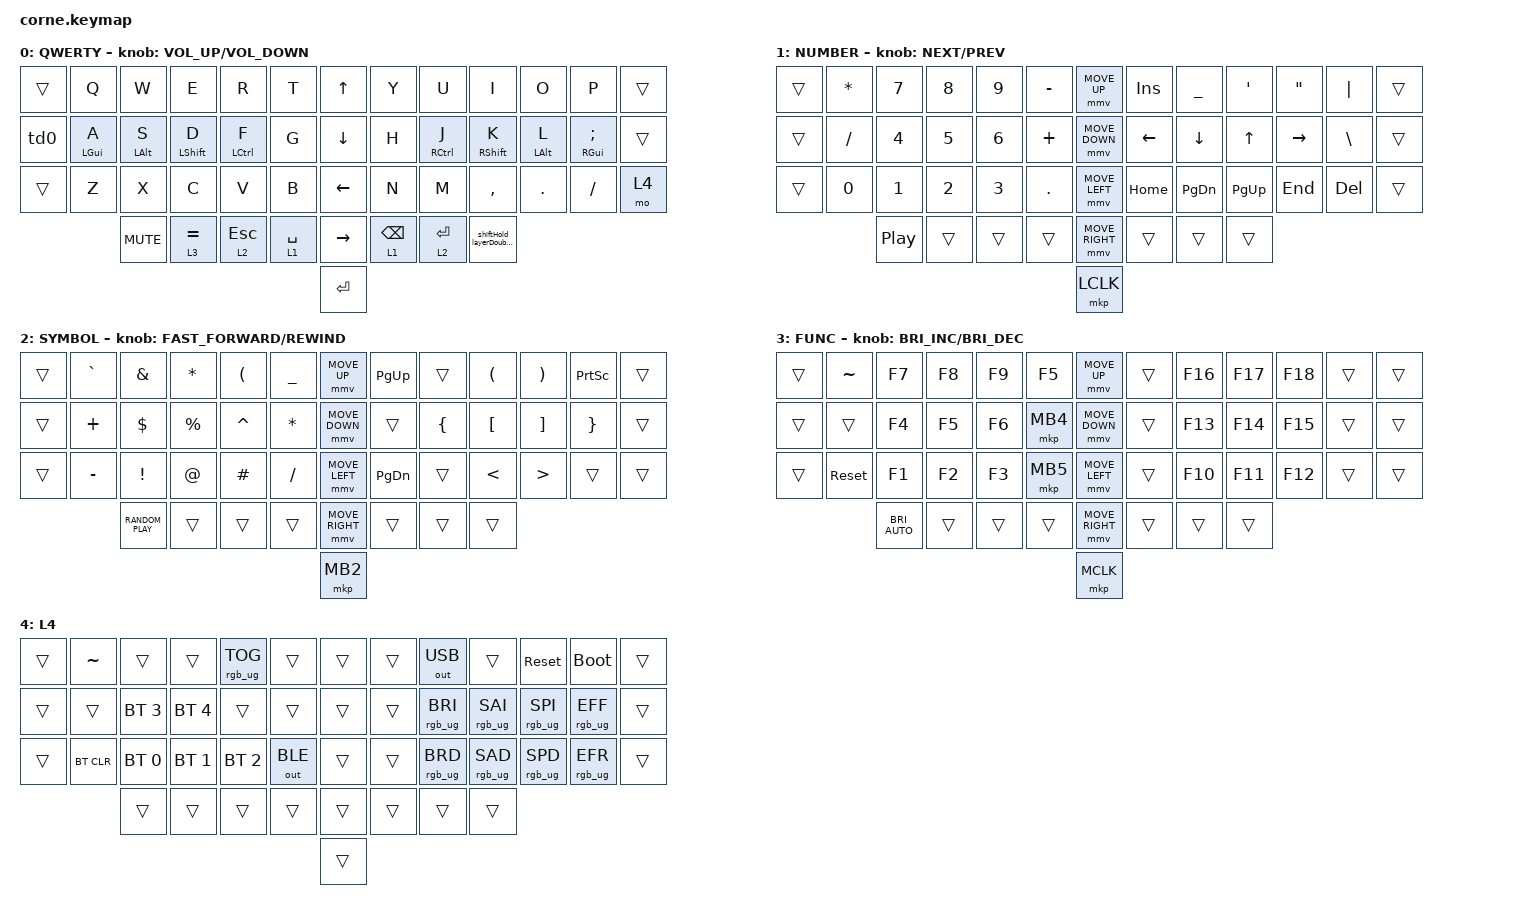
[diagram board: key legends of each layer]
#include <behaviors/mouse_keys.dtsi>
#include <behaviors.dtsi>
#include <dt-bindings/zmk/bt.h>
#include <dt-bindings/zmk/keys.h>
#include <dt-bindings/zmk/mouse.h>
#include <dt-bindings/zmk/outputs.h>
#include <dt-bindings/zmk/rgb.h>

#define ZMK_MOUSE_DEFAULT_MOVE_VAL 1200  // 600
#define ZMK_MOUSE_DEFAULT_SCRL_VAL 20    // 10
#define U_MS_U &mmv MOVE_UP
#define U_MS_D &mmv MOVE_DOWN
#define U_MS_L &mmv MOVE_LEFT
#define U_MS_R &mmv MOVE_RIGHT

&lt {
    quick-tap-ms = <125>;
    tapping-term-ms = <150>;
};

/ {
    behaviors {
        td0: td0 {
            compatible = "zmk,behavior-tap-dance";
            label = "TD0";
            #binding-cells = <0>;
            bindings = <&kp LEFT_SHIFT>, <&kp CAPS>;
        };

        hmr: homerow_right {
            compatible = "zmk,behavior-hold-tap";
            label = "HMR";
            bindings = <&kp>, <&kp>;

            #binding-cells = <2>;
            tapping-term-ms = <150>;
            quick-tap-ms = <125>;
            require-prior-idle-ms = <80>;
            flavor = "tap-preferred";
            hold-trigger-on-release;
            hold-trigger-key-positions = <40 41 42 0 1 2 3 4 5 13 14 15 16 17 18 26 27 28 29 30 31>;
        };

        hml: homerow_left {
            compatible = "zmk,behavior-hold-tap";
            label = "HML";
            bindings = <&kp>, <&kp>;

            #binding-cells = <2>;
            tapping-term-ms = <150>;
            quick-tap-ms = <125>;
            require-prior-idle-ms = <180>;
            flavor = "tap-preferred";
            hold-trigger-on-release;
            hold-trigger-key-positions = <7 8 9 10 11 12 20 21 22 23 24 25 33 34 35 36 37 38 45 46 44>;
        };

        shiftHold_layerDoubletap: shiftHold_layerDoubletap {
            compatible = "zmk,behavior-tap-dance";
            label = "SHIFTHOLD_LAYERDOUBLETAP";
            #binding-cells = <0>;
            bindings = <&kp LEFT_SHIFT>, <&mo 4>;

            tapping-term-ms = <150>;
        };

        mmv {
            acceleration-exponent = <1>;      // 1
            time-to-max-speed-ms = <900>;    // 40
            delay-ms = <0>;                   // 0
        };

        msc {
            acceleration-exponent = <1>;      // 0
            time-to-max-speed-ms = <400>;      // 500
            delay-ms = <0>;                   // 10
        };
    };

    rgb_encoder: rgb_encoder {
        compatible = "zmk,behavior-sensor-rotate";
        label = "RGB_ENCODER";
        #sensor-binding-cells = <0>;
        bindings = <&rgb_ug RGB_BRI>, <&rgb_ug RGB_BRD>;
    };

    scroll_encoder: scroll_encoder {
        compatible = "zmk,behavior-sensor-rotate";
        #sensor-binding-cells = <0>;
        bindings = <&msc SCRL_DOWN>, <&msc SCRL_UP>;

        tap-ms = <30>;
    };

    combos {
        compatible = "zmk,combos";

        equal {
            bindings = <&kp EQUAL>;
            key-positions = <4 8>;
        };

        tab {
            bindings = <&kp TAB>;
            key-positions = <2 3>;
        };

        kp_equal {
            bindings = <&kp KP_EQUAL>;
            key-positions = <1 3>;
        };

        backspace {
            bindings = <&kp BACKSPACE>;
            key-positions = <30 29>;
        };
    };

    keymap {
        compatible = "zmk,keymap";

        ALPHA {
            display-name = "QWERTY";

            // --------------------------------------------------------------------------------
            // |  TAB |  Q  |  W  |  E  |  R  |  T  |                ↑    |  Y  |  U   |  I  |  O  |  P  | BKSP |      &kp UP_ARROW 
            // | SHIFT |  A  |  S  |  D  |  F  |  G  |               ↓    |  H  |  J   |  K  |  L  |  ;  |  '   | 
            // | CTRL |  Z  |  X  |  C  |  V  |  B  |                ←    |  N  |  M   |  ,  |  .  |  /  | ESC  |
            //                    | GUI | LWR | SPC |                →    | ENT | RSE  | ALT |
            //                                                      enter

            bindings = <
&trans  &kp Q            &kp W            &kp E              &kp R         &kp T          &kp UP_ARROW     &kp Y            &kp U         &kp I                      &kp O            &kp P                &trans
&td0    &hml LEFT_GUI A  &hml LEFT_ALT S  &hml LEFT_SHIFT D  &hml LCTRL F  &kp G          &kp DOWN_ARROW   &kp H            &hmr RCTRL J  &hmr RIGHT_SHIFT K         &hmr LEFT_ALT L  &hmr RIGHT_GUI SEMI  &trans
&trans  &kp Z            &kp X            &kp C              &kp V         &kp B          &kp LEFT_ARROW   &kp N            &kp M         &kp COMMA                  &kp DOT          &kp FSLH             &mo 4
                         &kp C_MUTE       &lt 3 EQUAL        &lt 2 ESCAPE  &lt 1 SPACE    &kp RIGHT_ARROW  &lt 1 BACKSPACE  &lt 2 ENTER   &shiftHold_layerDoubletap
                                                                                          &kp ENTER
            >;

            label = "QWERTY";
            sensor-bindings = <&inc_dec_kp C_VOLUME_UP C_VOLUME_DOWN>;
        };

        L1 {
            display-name = "NUMBER";

            // -----------------------------------------------------------------------------------------
            // |  TAB |  1  |  2  |  3  |  4  |  5  |   |  6  |  7  |  8  |  9  |  0  | BKSP |
            // | BTCLR| BT1 | BT2 | BT3 | BT4 | BT5 |   | LFT | DWN |  UP | RGT |     |      |
            // | SHFT |     |     |     |     |     |   |     |     |     |     |     |      |
            //                    | GUI |     | SPC |   | ENT |     | ALT |

            bindings = <
&trans  &kp ASTERISK  &kp N7            &kp N8        &kp N9        &kp MINUS     &mmv MOVE_UP     &kp INSERT  &kp UNDER      &kp SINGLE_QUOTE  &kp DOUBLE_QUOTES  &kp PIPE       &trans
&trans  &kp SLASH     &kp NUMBER_4      &kp N5        &kp NUMBER_6  &kp PLUS      &mmv MOVE_DOWN   &kp LEFT    &kp DOWN       &kp UP            &kp RIGHT          &kp BACKSLASH  &trans
&trans  &kp N0        &kp N1            &kp NUMBER_2  &kp NUMBER_3  &kp PERIOD    &mmv MOVE_LEFT   &kp HOME    &kp PAGE_DOWN  &kp PAGE_UP       &kp END            &kp DELETE     &trans
                      &kp C_PLAY_PAUSE  &trans        &trans        &trans        &mmv MOVE_RIGHT  &trans      &trans         &trans
                                                                                  &mkp LCLK
            >;

            label = "NUMBER";
            sensor-bindings = <&inc_dec_kp C_NEXT C_PREV>;
        };

        L2 {
            display-name = "SYMBOL";

            // -----------------------------------------------------------------------------------------
            // |  TAB |  !  |  @  |  #  |  $  |  %  |   |  ^  |  &  |  *  |  (  |  )  | BKSP |
            // | CTRL |     |     |     |     |     |   |  -  |  =  |  [  |  ]  |  \  |  `   |
            // | SHFT |     |     |     |     |     |   |  _  |  +  |  {  |  }  | "|" |  ~   |
            //                    | GUI |     | SPC |   | ENT |     | ALT |

            bindings = <
&trans  &kp GRAVE  &kp AMPERSAND      &kp ASTERISK  &kp LEFT_PARENTHESIS  &kp UNDER       &mmv MOVE_UP     &kp PAGE_UP    &trans          &kp LEFT_PARENTHESIS  &kp RIGHT_PARENTHESIS  &kp PRINTSCREEN  &trans
&trans  &kp PLUS   &kp DOLLAR         &kp PERCENT   &kp CARET             &kp ASTERISK    &mmv MOVE_DOWN   &trans         &kp LEFT_BRACE  &kp LBKT              &kp RBKT               &kp RIGHT_BRACE  &trans
&trans  &kp MINUS  &kp EXCLAMATION    &kp AT_SIGN   &kp POUND             &kp SLASH       &mmv MOVE_LEFT   &kp PAGE_DOWN  &trans          &kp LESS_THAN         &kp GREATER_THAN       &trans           &trans
                   &kp C_RANDOM_PLAY  &trans        &trans                &trans          &mmv MOVE_RIGHT  &trans         &trans          &trans
                                                                                          &mkp MB2
            >;

            label = "SYMBOL";
            sensor-bindings = <&inc_dec_kp C_FAST_FORWARD C_REWIND>;
        };

        L3 {
            display-name = "FUNC";
            bindings = <
&trans  &kp TILDE   &kp F7                 &kp F8  &kp F9  &kp F5      &mmv MOVE_UP     &trans  &kp F16  &kp F17  &kp F18  &trans  &trans
&trans  &trans      &kp F4                 &kp F5  &kp F6  &mkp MB4    &mmv MOVE_DOWN   &trans  &kp F13  &kp F14  &kp F15  &trans  &trans
&trans  &sys_reset  &kp F1                 &kp F2  &kp F3  &mkp MB5    &mmv MOVE_LEFT   &trans  &kp F10  &kp F11  &kp F12  &trans  &trans
                    &kp C_BRIGHTNESS_AUTO  &trans  &trans  &trans      &mmv MOVE_RIGHT  &trans  &trans   &trans
                                                                       &mkp MCLK
            >;

            label = "FN";
            sensor-bindings = <&inc_dec_kp C_BRIGHTNESS_INC C_BRIGHTNESS_DEC>;
        };

        L4 {
            bindings = <
&trans  &kp TILDE   &trans        &trans        &rgb_ug RGB_TOG  &trans          &trans  &trans  &out OUT_USB     &trans           &sys_reset       &bootloader      &trans
&trans  &trans      &bt BT_SEL 3  &bt BT_SEL 4  &trans           &trans          &trans  &trans  &rgb_ug RGB_BRI  &rgb_ug RGB_SAI  &rgb_ug RGB_SPI  &rgb_ug RGB_EFF  &trans
&trans  &bt BT_CLR  &bt BT_SEL 0  &bt BT_SEL 1  &bt BT_SEL 2     &out OUT_BLE    &trans  &trans  &rgb_ug RGB_BRD  &rgb_ug RGB_SAD  &rgb_ug RGB_SPD  &rgb_ug RGB_EFR  &trans
                    &trans        &trans        &trans           &trans          &trans  &trans  &trans           &trans
                                                                                 &trans
            >;
        };
    };
};
